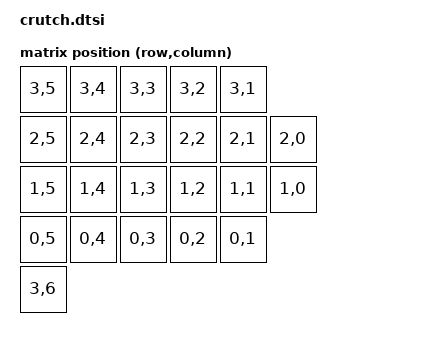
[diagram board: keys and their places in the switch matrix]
#include <dt-bindings/zmk/matrix_transform.h>

/ {
    chosen {
        zmk,kscan = &kscan0;
        zmk,physical-layout = &physical_layout0;
    };

    kscan0: kscan {
        compatible = "zmk,kscan-gpio-matrix";
        diode-direction = "col2row";
        wakeup-source;
    };

    physical_layout0: physical_layout_0 {
        compatible = "zmk,physical-layout";
        display-name = "Default Layout";
        transform = <&default_transform>;
    };

    default_transform: keymap_transform0 {
        compatible = "zmk,matrix-transform";
        columns = <7>;
        rows = <4>;
        map = <
            RC(3,5) RC(3,4) RC(3,3) RC(3,2) RC(3,1)
            RC(2,5) RC(2,4) RC(2,3) RC(2,2) RC(2,1) RC(2,0)
            RC(1,5) RC(1,4) RC(1,3) RC(1,2) RC(1,1) RC(1,0)
            RC(0,5) RC(0,4) RC(0,3) RC(0,2) RC(0,1)
            RC(3,6)
        >;
    };

    aliases {
        led-red = &led0;
        led-green = &led1;
        led-blue = &led2;
    };

    leds {
        compatible = "gpio-leds";
        status = "okay";
        led0: led_0 {
            gpios = <&gpio0 26 GPIO_ACTIVE_LOW>;  // red LED, connected to P0.26
        };
        led1: led_1 {
            gpios = <&gpio0 30 GPIO_ACTIVE_LOW>;  // green LED, connected to P0.30
        };
        led2: led_2 {
            gpios = <&gpio0 6 GPIO_ACTIVE_LOW>;  // blue LED, connected to P0.06
        };
    };
};
